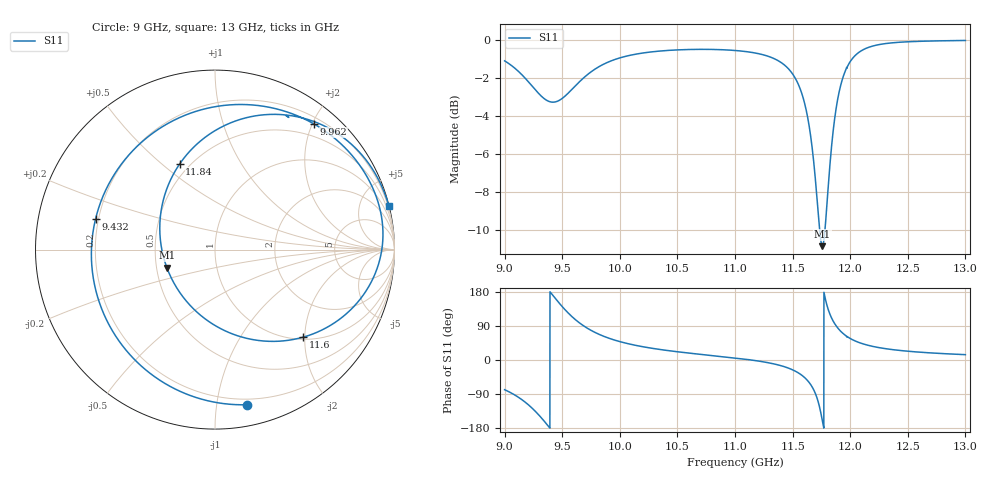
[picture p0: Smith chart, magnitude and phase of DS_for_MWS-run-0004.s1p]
! TOUCHSTONE file generated by CST DESIGN STUDIO
! Date and time: Tue Feb  4 17:35:07 2025
! Project name: C:\Work\MatlabApps\UnitCellOptimizationMatlab\CST\unitcell.cst
! Tree item: Tasks\Sweep1\SPara1\S-Parameters
! Header version: 2024
! Port assignment regex: !\s*Touchstone port\s*([0-9]+)\s*=\s*(CST MWS port|CST DES external port|CST DES block port)\s*(.+)\s* \(\"(.*)\"\)(\s*mode\s*([0-9]+))?.*
! Touchstone port assignment:
! Touchstone port 1 = CST DES external port 1 ("")
# GHz S MA R 50
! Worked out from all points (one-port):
!   4001 points, 9 GHz to 13 GHz, reference 50 ohm
!   lowest |S11| = -10.9 dB at 11.76 GHz (marker M1), VSWR 1.80, Z = 28.4 - j6.23 ohm
!   |S11| at or under -10 dB: 11.73479 GHz to 11.78098 GHz (46.19 MHz wide, 0.393 % of centre)
!   S11 on the Smith chart (normalised r, x): 9 GHz: 0.16, -1.22; 9.432 GHz: 0.19, +0.12; 9.962 GHz: 0.30, +2.02; 11.6 GHz: 1.05, -1.96; 11.84 GHz: 0.44, +0.58; 13 GHz: 0.04, +8.09
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9  0.8825 -78.3
9.119  0.8284 -98.2
9.217  0.7707 -121.0
9.335  0.705 -158.2
9.432  0.6871 165.6
9.5  0.7025 140.9
9.587  0.7436 113.8
9.681  0.7933 91.1
9.817  0.8511 68.1
9.962  0.8909 51.9
10  0.8984 48.5
10.215  0.927 34.2
10.5  0.9432 21.7
11  0.9399 5.3
11.318  0.9003 -9.0
11.5  0.815 -25.9
11.599  0.6917 -44.9
11.687  0.4658 -81.0
11.722  0.3509 -110.1
11.758  0.2864 -159.4
11.795  0.3583 148.0
11.836  0.5164 112.4
11.905  0.7331 79.9
12  0.8784 56.8
12.081  0.9318 45.6
12.183  0.9631 36.8
12.5  0.9909 23.2
13  0.9989 14.1
